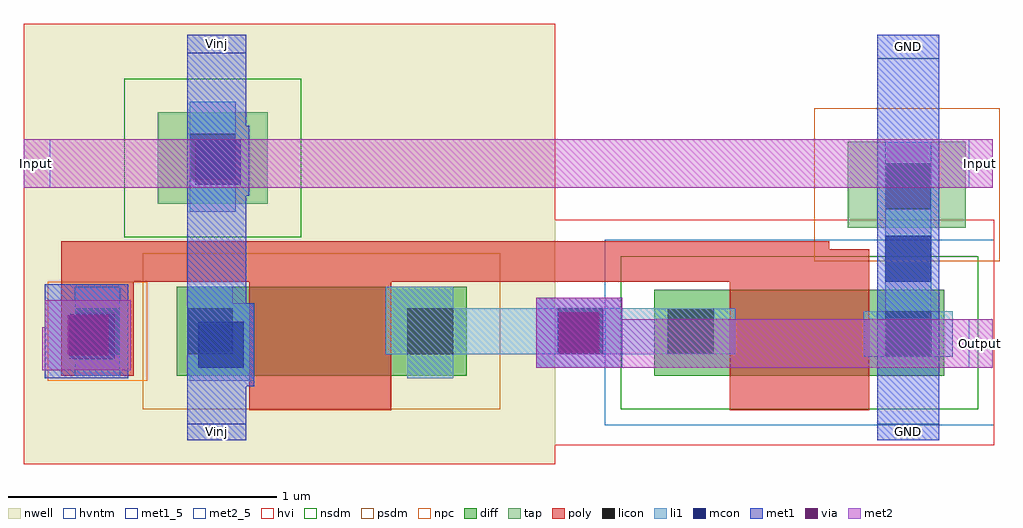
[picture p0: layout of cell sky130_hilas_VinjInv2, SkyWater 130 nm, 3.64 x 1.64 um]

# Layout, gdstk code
import gdstk
lib = gdstk.Library(unit=1e-6, precision=1e-09)
def R(c, l, rs):  # rectangles x0, y0, x1, y1
    for r in rs: c.add(gdstk.rectangle(r[:2], r[2:], *l))
nwell = (64, 20)
diff = (65, 20)
tap = (65, 44)
poly = (66, 20)
licon = (66, 44)
li1 = (67, 20)
mcon = (67, 44)
met1_5 = (68, 5)
met1 = (68, 20)
via = (68, 44)
met2_5 = (69, 5)
met2 = (69, 20)
hvi = (75, 20)
nsdm = (93, 44)
psdm = (94, 20)
npc = (95, 20)
hvntm = (125, 20)

sky130_hilas_vinjinv2 = lib.new_cell('sky130_hilas_VinjInv2')
R(sky130_hilas_vinjinv2, nwell, [(0,0,1.98,1.64)])
R(sky130_hilas_vinjinv2, diff, [(0.57,0.33,1.65,0.66), (2.35,0.33,3.43,0.65)])
R(sky130_hilas_vinjinv2, tap, [(3.07,0.88,3.51,1.2), (0.5,0.97,0.91,1.31)])
R(sky130_hilas_vinjinv2, poly, [(0.84,0.2,1.37,0.68), (2.63,0.2,3.15,0.68), (0.14,0.33,0.41,0.68), (0.14,0.68,3.15,0.8), (0.14,0.8,3,0.83)])
R(sky130_hilas_vinjinv2, licon, [(3.21,0.4,3.38,0.57), (0.19,0.41,0.36,0.58), (0.61,0.41,0.78,0.58), (1.43,0.41,1.6,0.58), (2.4,0.41,2.57,0.58), (3.21,0.95,3.38,1.12), (0.62,1.06,0.79,1.23)])
R(sky130_hilas_vinjinv2, li1, [(0.62,0.31,0.86,0.33), (1.43,0.32,1.6,0.41), (0.19,0.33,0.36,0.39), (0.61,0.33,0.86,0.6), (0.17,0.39,0.36,0.56), (3.13,0.4,3.46,0.57), (1.35,0.41,2.65,0.58), (0.19,0.56,0.36,0.66), (3.21,0.57,3.38,1.2), (1.35,0.58,1.6,0.66), (0.61,0.6,0.78,0.66), (0.62,0.94,0.79,1.04), (0.62,1.04,0.81,1.21), (0.62,1.21,0.79,1.35)])
R(sky130_hilas_vinjinv2, mcon, [(0.65,0.36,0.82,0.53), (0.17,0.39,0.34,0.56), (1.99,0.41,2.16,0.58), (3.21,0.68,3.38,0.85), (0.64,1.04,0.81,1.21)])
R(sky130_hilas_vinjinv2, met1_5, [(0.61,0.09,0.83,0.15), (3.18,0.09,3.41,0.15), (3.18,1.51,3.41,1.6), (0.61,1.53,0.83,1.6)])
R(sky130_hilas_vinjinv2, met1, [(0.61,0.09,0.83,0.29), (3.18,0.09,3.41,1.6), (0.61,0.29,0.86,0.6), (0.08,0.32,0.39,0.67), (1.91,0.36,2.23,0.62), (0.61,0.6,0.83,1), (0.61,1,0.84,1.26), (0.61,1.26,0.83,1.6)])
R(sky130_hilas_vinjinv2, via, [(0.165,0.405,0.315,0.555), (1.995,0.415,2.145,0.565)])
R(sky130_hilas_vinjinv2, met2_5, [(3.52,0.36,3.61,0.54), (0,1.03,0.1,1.21), (3.52,1.03,3.61,1.21)])
R(sky130_hilas_vinjinv2, met2, [(0.07,0.35,0.4,0.51), (1.91,0.36,3.61,0.54), (0.08,0.51,0.4,0.61), (1.91,0.54,2.23,0.62), (0,1.03,3.61,1.21)])
R(sky130_hilas_vinjinv2, hvi, [(0,0,1.98,0.07), (0,0.07,3.615,0.91), (0,0.91,1.98,1.64)])
R(sky130_hilas_vinjinv2, nsdm, [(2.225,0.205,3.555,0.775), (0.375,0.845,1.035,1.435)])
R(sky130_hilas_vinjinv2, psdm, [(0.445,0.205,1.775,0.785), (2.945,0.755,3.635,1.325)])
R(sky130_hilas_vinjinv2, npc, [(0.09,0.31,0.46,0.68)])
R(sky130_hilas_vinjinv2, hvntm, [(2.165,0.145,3.615,0.835)])
sky130_hilas_vinjinv2.add(gdstk.Label('Vinj', (0.72,0.12), layer=68, texttype=5))
sky130_hilas_vinjinv2.add(gdstk.Label('Vinj', (0.72,1.565), layer=68, texttype=5))
sky130_hilas_vinjinv2.add(gdstk.Label('GND', (3.295,1.555), layer=68, texttype=5))
sky130_hilas_vinjinv2.add(gdstk.Label('GND', (3.295,0.12), layer=68, texttype=5))
sky130_hilas_vinjinv2.add(gdstk.Label('Input', (0.05,1.12), layer=69, texttype=5))
sky130_hilas_vinjinv2.add(gdstk.Label('Input', (3.565,1.12), layer=69, texttype=5))
sky130_hilas_vinjinv2.add(gdstk.Label('Output', (3.565,0.45), layer=69, texttype=5))

lib.write_gds('sky130_hilas_VinjInv2.gds')
